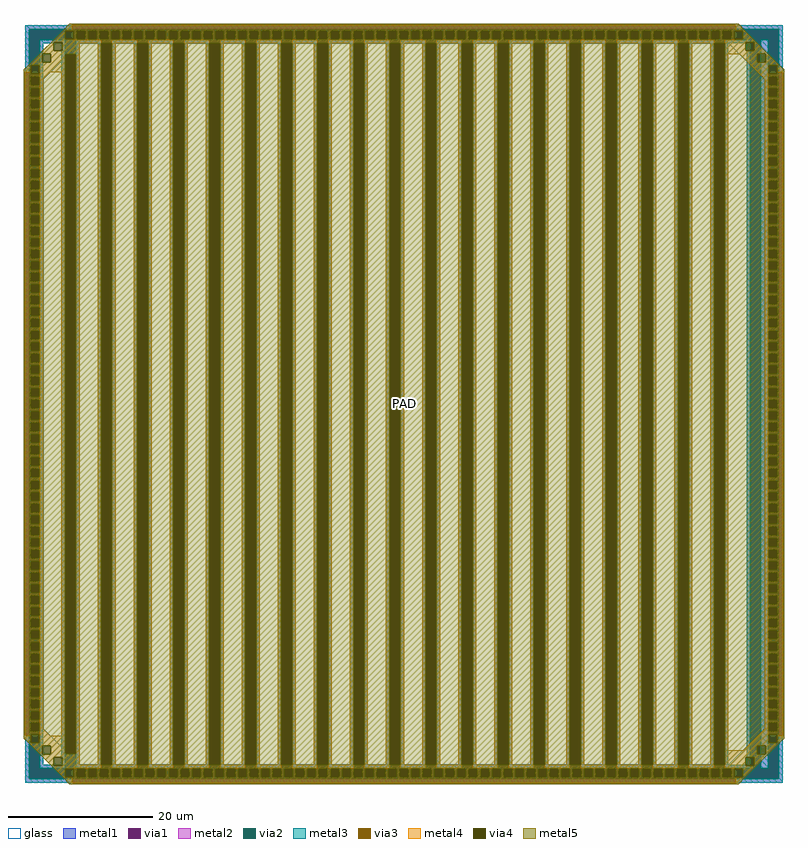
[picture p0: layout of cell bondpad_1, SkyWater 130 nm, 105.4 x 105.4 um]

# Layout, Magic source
magic
tech sky130A
<< metal1 >>
rect -250 10200 10250 10250
rect -250 -200 -200 10200
rect -50 10000 300 10050
rect -50 0 0 10000
rect 250 0 300 10000
rect -50 -50 300 0
rect 450 10000 800 10050
rect 450 0 500 10000
rect 750 0 800 10000
rect 450 -50 800 0
rect 950 10000 1300 10050
rect 950 0 1000 10000
rect 1250 0 1300 10000
rect 950 -50 1300 0
rect 1450 10000 1800 10050
rect 1450 0 1500 10000
rect 1750 0 1800 10000
rect 1450 -50 1800 0
rect 1950 10000 2300 10050
rect 1950 0 2000 10000
rect 2250 0 2300 10000
rect 1950 -50 2300 0
rect 2450 10000 2800 10050
rect 2450 0 2500 10000
rect 2750 0 2800 10000
rect 2450 -50 2800 0
rect 2950 10000 3300 10050
rect 2950 0 3000 10000
rect 3250 0 3300 10000
rect 2950 -50 3300 0
rect 3450 10000 3800 10050
rect 3450 0 3500 10000
rect 3750 0 3800 10000
rect 3450 -50 3800 0
rect 3950 10000 4300 10050
rect 3950 0 4000 10000
rect 4250 0 4300 10000
rect 3950 -50 4300 0
rect 4450 10000 4800 10050
rect 4450 0 4500 10000
rect 4750 0 4800 10000
rect 4450 -50 4800 0
rect 4950 10000 5300 10050
rect 4950 0 5000 10000
rect 5250 0 5300 10000
rect 4950 -50 5300 0
rect 5450 10000 5800 10050
rect 5450 0 5500 10000
rect 5750 0 5800 10000
rect 5450 -50 5800 0
rect 5950 10000 6300 10050
rect 5950 0 6000 10000
rect 6250 0 6300 10000
rect 5950 -50 6300 0
rect 6450 10000 6800 10050
rect 6450 0 6500 10000
rect 6750 0 6800 10000
rect 6450 -50 6800 0
rect 6950 10000 7300 10050
rect 6950 0 7000 10000
rect 7250 0 7300 10000
rect 6950 -50 7300 0
rect 7450 10000 7800 10050
rect 7450 0 7500 10000
rect 7750 0 7800 10000
rect 7450 -50 7800 0
rect 7950 10000 8300 10050
rect 7950 0 8000 10000
rect 8250 0 8300 10000
rect 7950 -50 8300 0
rect 8450 10000 8800 10050
rect 8450 0 8500 10000
rect 8750 0 8800 10000
rect 8450 -50 8800 0
rect 8950 10000 9300 10050
rect 8950 0 9000 10000
rect 9250 0 9300 10000
rect 8950 -50 9300 0
rect 9450 10000 9800 10050
rect 9450 0 9500 10000
rect 9750 0 9800 10000
rect 9450 -50 9800 0
rect 9950 -50 10050 10050
rect 10200 -200 10250 10200
rect -250 -250 10250 -200
<< via1 >>
rect -200 10050 10200 10200
rect -200 -50 -50 10050
rect 300 -50 450 10050
rect 800 -50 950 10050
rect 1300 -50 1450 10050
rect 1800 -50 1950 10050
rect 2300 -50 2450 10050
rect 2800 -50 2950 10050
rect 3300 -50 3450 10050
rect 3800 -50 3950 10050
rect 4300 -50 4450 10050
rect 4800 -50 4950 10050
rect 5300 -50 5450 10050
rect 5800 -50 5950 10050
rect 6300 -50 6450 10050
rect 6800 -50 6950 10050
rect 7300 -50 7450 10050
rect 7800 -50 7950 10050
rect 8300 -50 8450 10050
rect 8800 -50 8950 10050
rect 9300 -50 9450 10050
rect 9800 -50 9950 10050
rect 10050 -50 10200 10050
rect -200 -200 10200 -50
<< metal2 >>
rect -250 10200 10250 10250
rect -250 -200 -200 10200
rect -50 10000 300 10050
rect -50 0 0 10000
rect 250 0 300 10000
rect -50 -50 300 0
rect 450 10000 800 10050
rect 450 0 500 10000
rect 750 0 800 10000
rect 450 -50 800 0
rect 950 10000 1300 10050
rect 950 0 1000 10000
rect 1250 0 1300 10000
rect 950 -50 1300 0
rect 1450 10000 1800 10050
rect 1450 0 1500 10000
rect 1750 0 1800 10000
rect 1450 -50 1800 0
rect 1950 10000 2300 10050
rect 1950 0 2000 10000
rect 2250 0 2300 10000
rect 1950 -50 2300 0
rect 2450 10000 2800 10050
rect 2450 0 2500 10000
rect 2750 0 2800 10000
rect 2450 -50 2800 0
rect 2950 10000 3300 10050
rect 2950 0 3000 10000
rect 3250 0 3300 10000
rect 2950 -50 3300 0
rect 3450 10000 3800 10050
rect 3450 0 3500 10000
rect 3750 0 3800 10000
rect 3450 -50 3800 0
rect 3950 10000 4300 10050
rect 3950 0 4000 10000
rect 4250 0 4300 10000
rect 3950 -50 4300 0
rect 4450 10000 4800 10050
rect 4450 0 4500 10000
rect 4750 0 4800 10000
rect 4450 -50 4800 0
rect 4950 10000 5300 10050
rect 4950 0 5000 10000
rect 5250 0 5300 10000
rect 4950 -50 5300 0
rect 5450 10000 5800 10050
rect 5450 0 5500 10000
rect 5750 0 5800 10000
rect 5450 -50 5800 0
rect 5950 10000 6300 10050
rect 5950 0 6000 10000
rect 6250 0 6300 10000
rect 5950 -50 6300 0
rect 6450 10000 6800 10050
rect 6450 0 6500 10000
rect 6750 0 6800 10000
rect 6450 -50 6800 0
rect 6950 10000 7300 10050
rect 6950 0 7000 10000
rect 7250 0 7300 10000
rect 6950 -50 7300 0
rect 7450 10000 7800 10050
rect 7450 0 7500 10000
rect 7750 0 7800 10000
rect 7450 -50 7800 0
rect 7950 10000 8300 10050
rect 7950 0 8000 10000
rect 8250 0 8300 10000
rect 7950 -50 8300 0
rect 8450 10000 8800 10050
rect 8450 0 8500 10000
rect 8750 0 8800 10000
rect 8450 -50 8800 0
rect 8950 10000 9300 10050
rect 8950 0 9000 10000
rect 9250 0 9300 10000
rect 8950 -50 9300 0
rect 9450 10000 9800 10050
rect 9450 0 9500 10000
rect 9750 0 9800 10000
rect 9450 -50 9800 0
rect 9950 -50 10050 10050
rect 10200 -200 10250 10200
rect -250 -250 10250 -200
<< via2 >>
rect -200 10050 10200 10200
rect -200 -50 -50 10050
rect 300 -50 450 10050
rect 800 -50 950 10050
rect 1300 -50 1450 10050
rect 1800 -50 1950 10050
rect 2300 -50 2450 10050
rect 2800 -50 2950 10050
rect 3300 -50 3450 10050
rect 3800 -50 3950 10050
rect 4300 -50 4450 10050
rect 4800 -50 4950 10050
rect 5300 -50 5450 10050
rect 5800 -50 5950 10050
rect 6300 -50 6450 10050
rect 6800 -50 6950 10050
rect 7300 -50 7450 10050
rect 7800 -50 7950 10050
rect 8300 -50 8450 10050
rect 8800 -50 8950 10050
rect 9300 -50 9450 10050
rect 9800 -50 9950 10050
rect 10050 -50 10200 10050
rect -200 -200 10200 -50
<< metal3 >>
rect -250 10200 400 10250
rect 9600 10200 10250 10250
rect -250 9600 -200 10200
rect -50 10000 300 10050
rect -250 -200 -200 400
rect -50 0 0 10000
rect 250 0 300 10000
rect 450 10000 800 10050
rect -50 -50 300 0
rect 450 0 500 10000
rect 750 0 800 10000
rect 450 -50 800 0
rect 950 10000 1300 10050
rect 950 0 1000 10000
rect 1250 0 1300 10000
rect 950 -50 1300 0
rect 1450 10000 1800 10050
rect 1450 0 1500 10000
rect 1750 0 1800 10000
rect 1450 -50 1800 0
rect 1950 10000 2300 10050
rect 1950 0 2000 10000
rect 2250 0 2300 10000
rect 1950 -50 2300 0
rect 2450 10000 2800 10050
rect 2450 0 2500 10000
rect 2750 0 2800 10000
rect 2450 -50 2800 0
rect 2950 10000 3300 10050
rect 2950 0 3000 10000
rect 3250 0 3300 10000
rect 2950 -50 3300 0
rect 3450 10000 3800 10050
rect 3450 0 3500 10000
rect 3750 0 3800 10000
rect 3450 -50 3800 0
rect 3950 10000 4300 10050
rect 3950 0 4000 10000
rect 4250 0 4300 10000
rect 3950 -50 4300 0
rect 4450 10000 4800 10050
rect 4450 0 4500 10000
rect 4750 0 4800 10000
rect 4450 -50 4800 0
rect 4950 10000 5300 10050
rect 4950 0 5000 10000
rect 5250 0 5300 10000
rect 4950 -50 5300 0
rect 5450 10000 5800 10050
rect 5450 0 5500 10000
rect 5750 0 5800 10000
rect 5450 -50 5800 0
rect 5950 10000 6300 10050
rect 5950 0 6000 10000
rect 6250 0 6300 10000
rect 5950 -50 6300 0
rect 6450 10000 6800 10050
rect 6450 0 6500 10000
rect 6750 0 6800 10000
rect 6450 -50 6800 0
rect 6950 10000 7300 10050
rect 6950 0 7000 10000
rect 7250 0 7300 10000
rect 6950 -50 7300 0
rect 7450 10000 7800 10050
rect 7450 0 7500 10000
rect 7750 0 7800 10000
rect 7450 -50 7800 0
rect 7950 10000 8300 10050
rect 7950 0 8000 10000
rect 8250 0 8300 10000
rect 7950 -50 8300 0
rect 8450 10000 8800 10050
rect 8450 0 8500 10000
rect 8750 0 8800 10000
rect 8450 -50 8800 0
rect 8950 10000 9300 10050
rect 8950 0 9000 10000
rect 9250 0 9300 10000
rect 8950 -50 9300 0
rect 9450 10000 9800 10050
rect 9450 0 9500 10000
rect 9750 0 9800 10000
rect 9450 -50 9800 0
rect 9950 -50 10050 10050
rect 10200 9600 10250 10200
rect 10200 -200 10250 400
rect -250 -250 400 -200
rect 9600 -250 10250 -200
<< via3 >>
rect 400 10200 9600 10250
rect 400 10050 9600 10200
rect -250 400 -200 9600
rect -200 400 -50 9600
rect 300 150 450 9850
rect 800 -50 950 10050
rect 1300 -50 1450 10050
rect 1800 -50 1950 10050
rect 2300 -50 2450 10050
rect 2800 -50 2950 10050
rect 3300 -50 3450 10050
rect 3800 -50 3950 10050
rect 4300 -50 4450 10050
rect 4800 -50 4950 10050
rect 5300 -50 5450 10050
rect 5800 -50 5950 10050
rect 6300 -50 6450 10050
rect 6800 -50 6950 10050
rect 7300 -50 7450 10050
rect 7800 -50 7950 10050
rect 8300 -50 8450 10050
rect 8800 -50 8950 10050
rect 9300 -50 9450 10050
rect 10050 400 10200 9600
rect 10200 400 10250 9600
rect 400 -200 9600 -50
rect 400 -250 9600 -200
<< metal4 >>
tri 269 10179 360 10270 se
rect 360 10250 9640 10270
rect 360 10179 400 10250
rect 9600 10179 9640 10250
tri 9640 10179 9731 10270 sw
tri 135 10045 269 10179 se
rect 269 10061 301 10179
rect 9699 10061 9731 10179
rect 269 10050 400 10061
rect 9600 10050 9731 10061
rect 269 10045 800 10050
tri -51 9859 135 10045 se
rect 135 10019 800 10045
rect 135 9901 141 10019
rect 259 10000 800 10019
rect 950 10000 1300 10050
rect 1450 10000 1800 10050
rect 1950 10000 2300 10050
rect 2450 10000 2800 10050
rect 2950 10000 3300 10050
rect 3450 10000 3800 10050
rect 3950 10000 4300 10050
rect 4450 10000 4800 10050
rect 4950 10000 5300 10050
rect 5450 10000 5800 10050
rect 5950 10000 6300 10050
rect 6450 10000 6800 10050
rect 6950 10000 7300 10050
rect 7450 10000 7800 10050
rect 7950 10000 8300 10050
rect 8450 10000 8800 10050
rect 8950 10000 9300 10050
rect 9450 10045 9731 10050
tri 9731 10045 9865 10179 sw
rect 9450 10019 9865 10045
rect 259 9901 500 10000
rect 135 9859 500 9901
tri -211 9699 -51 9859 se
rect -51 9741 -19 9859
rect 99 9850 500 9859
rect 99 9741 300 9850
rect -51 9699 300 9741
tri -270 9640 -211 9699 se
rect -211 9640 -179 9699
rect -270 9600 -179 9640
rect -61 9600 300 9699
rect -270 400 -250 9600
rect -50 400 0 9600
tri 0 9505 95 9600 nw
tri 0 400 95 495 sw
rect 250 400 300 9600
rect -270 360 -179 400
tri -270 301 -211 360 ne
rect -211 301 -179 360
rect -61 301 300 400
tri -211 135 -45 301 ne
rect -45 259 300 301
rect -45 141 -19 259
rect 99 150 300 259
rect 450 150 500 9850
rect 99 141 500 150
rect -45 135 500 141
tri -45 -19 109 135 ne
rect 109 99 500 135
rect 109 -19 141 99
rect 259 0 500 99
rect 750 0 800 10000
rect 950 0 1000 10000
rect 1250 0 1300 10000
rect 1450 0 1500 10000
rect 1750 0 1800 10000
rect 1950 0 2000 10000
rect 2250 0 2300 10000
rect 2450 0 2500 10000
rect 2750 0 2800 10000
rect 2950 0 3000 10000
rect 3250 0 3300 10000
rect 3450 0 3500 10000
rect 3750 0 3800 10000
rect 3950 0 4000 10000
rect 4250 0 4300 10000
rect 4450 0 4500 10000
rect 4750 0 4800 10000
rect 4950 0 5000 10000
rect 5250 0 5300 10000
rect 5450 0 5500 10000
rect 5750 0 5800 10000
rect 5950 0 6000 10000
rect 6250 0 6300 10000
rect 6450 0 6500 10000
rect 6750 0 6800 10000
rect 6950 0 7000 10000
rect 7250 0 7300 10000
rect 7450 0 7500 10000
rect 7750 0 7800 10000
rect 7950 0 8000 10000
rect 8250 0 8300 10000
rect 8450 0 8500 10000
rect 8750 0 8800 10000
rect 8950 0 9000 10000
rect 9250 0 9300 10000
rect 9450 9901 9741 10019
rect 9859 9901 9865 10019
rect 9450 9859 9865 9901
tri 9865 9859 10051 10045 sw
rect 9450 9850 9901 9859
rect 9450 200 9500 9850
tri 9655 9640 9865 9850 ne
rect 9865 9741 9901 9850
rect 10019 9741 10051 9859
rect 9865 9699 10051 9741
tri 10051 9699 10211 9859 sw
rect 9865 9640 10061 9699
tri 9865 9505 10000 9640 ne
rect 10000 9600 10061 9640
rect 10179 9640 10211 9699
tri 10211 9640 10270 9699 sw
rect 10179 9600 10270 9640
tri 9865 360 10000 495 se
rect 10000 400 10050 9600
rect 10250 400 10270 9600
rect 10000 360 10061 400
tri 9705 200 9865 360 se
rect 9865 301 10061 360
rect 10179 360 10270 400
rect 10179 301 10211 360
tri 10211 301 10270 360 nw
rect 9865 259 10051 301
rect 9865 200 9901 259
rect 9450 141 9901 200
rect 10019 141 10051 259
tri 10051 141 10211 301 nw
rect 9450 99 9891 141
rect 259 -19 800 0
tri 109 -179 269 -19 ne
rect 269 -50 800 -19
rect 950 -50 1300 0
rect 1450 -50 1800 0
rect 1950 -50 2300 0
rect 2450 -50 2800 0
rect 2950 -50 3300 0
rect 3450 -50 3800 0
rect 3950 -50 4300 0
rect 4450 -50 4800 0
rect 4950 -50 5300 0
rect 5450 -50 5800 0
rect 5950 -50 6300 0
rect 6450 -50 6800 0
rect 6950 -50 7300 0
rect 7450 -50 7800 0
rect 7950 -50 8300 0
rect 8450 -50 8800 0
rect 8950 -50 9300 0
rect 9450 -19 9741 99
rect 9859 -19 9891 99
tri 9891 -19 10051 141 nw
rect 9450 -50 9731 -19
rect 269 -61 400 -50
rect 9600 -61 9731 -50
rect 269 -179 301 -61
rect 9699 -179 9731 -61
tri 9731 -179 9891 -19 nw
tri 269 -270 360 -179 ne
rect 360 -250 400 -179
rect 9600 -250 9640 -179
rect 360 -270 9640 -250
tri 9640 -270 9731 -179 nw
<< via4 >>
rect 301 10061 400 10179
rect 400 10061 419 10179
rect 461 10061 579 10179
rect 621 10061 739 10179
rect 781 10061 899 10179
rect 941 10061 1059 10179
rect 1101 10061 1219 10179
rect 1261 10061 1379 10179
rect 1421 10061 1539 10179
rect 1581 10061 1699 10179
rect 1741 10061 1859 10179
rect 1901 10061 2019 10179
rect 2061 10061 2179 10179
rect 2221 10061 2339 10179
rect 2381 10061 2499 10179
rect 2541 10061 2659 10179
rect 2701 10061 2819 10179
rect 2861 10061 2979 10179
rect 3021 10061 3139 10179
rect 3181 10061 3299 10179
rect 3341 10061 3459 10179
rect 3501 10061 3619 10179
rect 3661 10061 3779 10179
rect 3821 10061 3939 10179
rect 3981 10061 4099 10179
rect 4141 10061 4259 10179
rect 4301 10061 4419 10179
rect 4461 10061 4579 10179
rect 4621 10061 4739 10179
rect 4781 10061 4899 10179
rect 4941 10061 5059 10179
rect 5101 10061 5219 10179
rect 5261 10061 5379 10179
rect 5421 10061 5539 10179
rect 5581 10061 5699 10179
rect 5741 10061 5859 10179
rect 5901 10061 6019 10179
rect 6061 10061 6179 10179
rect 6221 10061 6339 10179
rect 6381 10061 6499 10179
rect 6541 10061 6659 10179
rect 6701 10061 6819 10179
rect 6861 10061 6979 10179
rect 7021 10061 7139 10179
rect 7181 10061 7299 10179
rect 7341 10061 7459 10179
rect 7501 10061 7619 10179
rect 7661 10061 7779 10179
rect 7821 10061 7939 10179
rect 7981 10061 8099 10179
rect 8141 10061 8259 10179
rect 8301 10061 8419 10179
rect 8461 10061 8579 10179
rect 8621 10061 8739 10179
rect 8781 10061 8899 10179
rect 8941 10061 9059 10179
rect 9101 10061 9219 10179
rect 9261 10061 9379 10179
rect 9421 10061 9539 10179
rect 9581 10061 9600 10179
rect 9600 10061 9699 10179
rect 141 9901 259 10019
rect -19 9741 99 9859
rect -179 9600 -61 9699
rect -179 9581 -61 9600
rect -179 9421 -61 9539
rect -179 9261 -61 9379
rect -179 9101 -61 9219
rect -179 8941 -61 9059
rect -179 8781 -61 8899
rect -179 8621 -61 8739
rect -179 8461 -61 8579
rect -179 8301 -61 8419
rect -179 8141 -61 8259
rect -179 7981 -61 8099
rect -179 7821 -61 7939
rect -179 7661 -61 7779
rect -179 7501 -61 7619
rect -179 7341 -61 7459
rect -179 7181 -61 7299
rect -179 7021 -61 7139
rect -179 6861 -61 6979
rect -179 6701 -61 6819
rect -179 6541 -61 6659
rect -179 6381 -61 6499
rect -179 6221 -61 6339
rect -179 6061 -61 6179
rect -179 5901 -61 6019
rect -179 5741 -61 5859
rect -179 5581 -61 5699
rect -179 5421 -61 5539
rect -179 5261 -61 5379
rect -179 5101 -61 5219
rect -179 4941 -61 5059
rect -179 4781 -61 4899
rect -179 4621 -61 4739
rect -179 4461 -61 4579
rect -179 4301 -61 4419
rect -179 4141 -61 4259
rect -179 3981 -61 4099
rect -179 3821 -61 3939
rect -179 3661 -61 3779
rect -179 3501 -61 3619
rect -179 3341 -61 3459
rect -179 3181 -61 3299
rect -179 3021 -61 3139
rect -179 2861 -61 2979
rect -179 2701 -61 2819
rect -179 2541 -61 2659
rect -179 2381 -61 2499
rect -179 2221 -61 2339
rect -179 2061 -61 2179
rect -179 1901 -61 2019
rect -179 1741 -61 1859
rect -179 1581 -61 1699
rect -179 1421 -61 1539
rect -179 1261 -61 1379
rect -179 1101 -61 1219
rect -179 941 -61 1059
rect -179 781 -61 899
rect -179 621 -61 739
rect -179 461 -61 579
rect -179 400 -61 419
rect -179 301 -61 400
rect -19 141 99 259
rect 300 150 450 9850
rect 141 -19 259 99
rect 800 0 950 10000
rect 1300 0 1450 10000
rect 1800 0 1950 10000
rect 2300 0 2450 10000
rect 2800 0 2950 10000
rect 3300 0 3450 10000
rect 3800 0 3950 10000
rect 4300 0 4450 10000
rect 4800 0 4950 10000
rect 5300 0 5450 10000
rect 5800 0 5950 10000
rect 6300 0 6450 10000
rect 6800 0 6950 10000
rect 7300 0 7450 10000
rect 7800 0 7950 10000
rect 8300 0 8450 10000
rect 8800 0 8950 10000
rect 9300 0 9450 10000
rect 9741 9901 9859 10019
rect 9901 9741 10019 9859
rect 10061 9600 10179 9699
rect 10061 9581 10179 9600
rect 10061 9421 10179 9539
rect 10061 9261 10179 9379
rect 10061 9101 10179 9219
rect 10061 8941 10179 9059
rect 10061 8781 10179 8899
rect 10061 8621 10179 8739
rect 10061 8461 10179 8579
rect 10061 8301 10179 8419
rect 10061 8141 10179 8259
rect 10061 7981 10179 8099
rect 10061 7821 10179 7939
rect 10061 7661 10179 7779
rect 10061 7501 10179 7619
rect 10061 7341 10179 7459
rect 10061 7181 10179 7299
rect 10061 7021 10179 7139
rect 10061 6861 10179 6979
rect 10061 6701 10179 6819
rect 10061 6541 10179 6659
rect 10061 6381 10179 6499
rect 10061 6221 10179 6339
rect 10061 6061 10179 6179
rect 10061 5901 10179 6019
rect 10061 5741 10179 5859
rect 10061 5581 10179 5699
rect 10061 5421 10179 5539
rect 10061 5261 10179 5379
rect 10061 5101 10179 5219
rect 10061 4941 10179 5059
rect 10061 4781 10179 4899
rect 10061 4621 10179 4739
rect 10061 4461 10179 4579
rect 10061 4301 10179 4419
rect 10061 4141 10179 4259
rect 10061 3981 10179 4099
rect 10061 3821 10179 3939
rect 10061 3661 10179 3779
rect 10061 3501 10179 3619
rect 10061 3341 10179 3459
rect 10061 3181 10179 3299
rect 10061 3021 10179 3139
rect 10061 2861 10179 2979
rect 10061 2701 10179 2819
rect 10061 2541 10179 2659
rect 10061 2381 10179 2499
rect 10061 2221 10179 2339
rect 10061 2061 10179 2179
rect 10061 1901 10179 2019
rect 10061 1741 10179 1859
rect 10061 1581 10179 1699
rect 10061 1421 10179 1539
rect 10061 1261 10179 1379
rect 10061 1101 10179 1219
rect 10061 941 10179 1059
rect 10061 781 10179 899
rect 10061 621 10179 739
rect 10061 461 10179 579
rect 10061 400 10179 419
rect 10061 301 10179 400
rect 9901 141 10019 259
rect 9741 -19 9859 99
rect 301 -179 400 -61
rect 400 -179 419 -61
rect 461 -179 579 -61
rect 621 -179 739 -61
rect 781 -179 899 -61
rect 941 -179 1059 -61
rect 1101 -179 1219 -61
rect 1261 -179 1379 -61
rect 1421 -179 1539 -61
rect 1581 -179 1699 -61
rect 1741 -179 1859 -61
rect 1901 -179 2019 -61
rect 2061 -179 2179 -61
rect 2221 -179 2339 -61
rect 2381 -179 2499 -61
rect 2541 -179 2659 -61
rect 2701 -179 2819 -61
rect 2861 -179 2979 -61
rect 3021 -179 3139 -61
rect 3181 -179 3299 -61
rect 3341 -179 3459 -61
rect 3501 -179 3619 -61
rect 3661 -179 3779 -61
rect 3821 -179 3939 -61
rect 3981 -179 4099 -61
rect 4141 -179 4259 -61
rect 4301 -179 4419 -61
rect 4461 -179 4579 -61
rect 4621 -179 4739 -61
rect 4781 -179 4899 -61
rect 4941 -179 5059 -61
rect 5101 -179 5219 -61
rect 5261 -179 5379 -61
rect 5421 -179 5539 -61
rect 5581 -179 5699 -61
rect 5741 -179 5859 -61
rect 5901 -179 6019 -61
rect 6061 -179 6179 -61
rect 6221 -179 6339 -61
rect 6381 -179 6499 -61
rect 6541 -179 6659 -61
rect 6701 -179 6819 -61
rect 6861 -179 6979 -61
rect 7021 -179 7139 -61
rect 7181 -179 7299 -61
rect 7341 -179 7459 -61
rect 7501 -179 7619 -61
rect 7661 -179 7779 -61
rect 7821 -179 7939 -61
rect 7981 -179 8099 -61
rect 8141 -179 8259 -61
rect 8301 -179 8419 -61
rect 8461 -179 8579 -61
rect 8621 -179 8739 -61
rect 8781 -179 8899 -61
rect 8941 -179 9059 -61
rect 9101 -179 9219 -61
rect 9261 -179 9379 -61
rect 9421 -179 9539 -61
rect 9581 -179 9600 -61
rect 9600 -179 9699 -61
<< metal5 >>
tri 269 10179 360 10270 se
rect 360 10179 9640 10270
tri 9640 10179 9731 10270 sw
tri 109 10019 269 10179 se
rect 269 10061 301 10179
rect 419 10061 461 10179
rect 579 10061 621 10179
rect 739 10061 781 10179
rect 899 10061 941 10179
rect 1059 10061 1101 10179
rect 1219 10061 1261 10179
rect 1379 10061 1421 10179
rect 1539 10061 1581 10179
rect 1699 10061 1741 10179
rect 1859 10061 1901 10179
rect 2019 10061 2061 10179
rect 2179 10061 2221 10179
rect 2339 10061 2381 10179
rect 2499 10061 2541 10179
rect 2659 10061 2701 10179
rect 2819 10061 2861 10179
rect 2979 10061 3021 10179
rect 3139 10061 3181 10179
rect 3299 10061 3341 10179
rect 3459 10061 3501 10179
rect 3619 10061 3661 10179
rect 3779 10061 3821 10179
rect 3939 10061 3981 10179
rect 4099 10061 4141 10179
rect 4259 10061 4301 10179
rect 4419 10061 4461 10179
rect 4579 10061 4621 10179
rect 4739 10061 4781 10179
rect 4899 10061 4941 10179
rect 5059 10061 5101 10179
rect 5219 10061 5261 10179
rect 5379 10061 5421 10179
rect 5539 10061 5581 10179
rect 5699 10061 5741 10179
rect 5859 10061 5901 10179
rect 6019 10061 6061 10179
rect 6179 10061 6221 10179
rect 6339 10061 6381 10179
rect 6499 10061 6541 10179
rect 6659 10061 6701 10179
rect 6819 10061 6861 10179
rect 6979 10061 7021 10179
rect 7139 10061 7181 10179
rect 7299 10061 7341 10179
rect 7459 10061 7501 10179
rect 7619 10061 7661 10179
rect 7779 10061 7821 10179
rect 7939 10061 7981 10179
rect 8099 10061 8141 10179
rect 8259 10061 8301 10179
rect 8419 10061 8461 10179
rect 8579 10061 8621 10179
rect 8739 10061 8781 10179
rect 8899 10061 8941 10179
rect 9059 10061 9101 10179
rect 9219 10061 9261 10179
rect 9379 10061 9421 10179
rect 9539 10061 9581 10179
rect 9699 10061 9731 10179
rect 269 10019 9731 10061
tri 9731 10019 9891 10179 sw
tri 0 9910 109 10019 se
rect 109 9910 141 10019
tri -51 9859 0 9910 se
rect 0 9901 141 9910
rect 259 10000 9741 10019
rect 259 9901 800 10000
rect 0 9859 800 9901
tri -211 9699 -51 9859 se
rect -51 9741 -19 9859
rect 99 9850 800 9859
rect 99 9741 300 9850
rect -51 9699 300 9741
tri -270 9640 -211 9699 se
rect -211 9640 -179 9699
rect -270 9581 -179 9640
rect -61 9581 300 9699
rect -270 9539 300 9581
rect -270 9421 -179 9539
rect -61 9421 300 9539
rect -270 9379 300 9421
rect -270 9261 -179 9379
rect -61 9261 300 9379
rect -270 9219 300 9261
rect -270 9101 -179 9219
rect -61 9101 300 9219
rect -270 9059 300 9101
rect -270 8941 -179 9059
rect -61 8941 300 9059
rect -270 8899 300 8941
rect -270 8781 -179 8899
rect -61 8781 300 8899
rect -270 8739 300 8781
rect -270 8621 -179 8739
rect -61 8621 300 8739
rect -270 8579 300 8621
rect -270 8461 -179 8579
rect -61 8461 300 8579
rect -270 8419 300 8461
rect -270 8301 -179 8419
rect -61 8301 300 8419
rect -270 8259 300 8301
rect -270 8141 -179 8259
rect -61 8141 300 8259
rect -270 8099 300 8141
rect -270 7981 -179 8099
rect -61 7981 300 8099
rect -270 7939 300 7981
rect -270 7821 -179 7939
rect -61 7821 300 7939
rect -270 7779 300 7821
rect -270 7661 -179 7779
rect -61 7661 300 7779
rect -270 7619 300 7661
rect -270 7501 -179 7619
rect -61 7501 300 7619
rect -270 7459 300 7501
rect -270 7341 -179 7459
rect -61 7341 300 7459
rect -270 7299 300 7341
rect -270 7181 -179 7299
rect -61 7181 300 7299
rect -270 7139 300 7181
rect -270 7021 -179 7139
rect -61 7021 300 7139
rect -270 6979 300 7021
rect -270 6861 -179 6979
rect -61 6861 300 6979
rect -270 6819 300 6861
rect -270 6701 -179 6819
rect -61 6701 300 6819
rect -270 6659 300 6701
rect -270 6541 -179 6659
rect -61 6541 300 6659
rect -270 6499 300 6541
rect -270 6381 -179 6499
rect -61 6381 300 6499
rect -270 6339 300 6381
rect -270 6221 -179 6339
rect -61 6221 300 6339
rect -270 6179 300 6221
rect -270 6061 -179 6179
rect -61 6061 300 6179
rect -270 6019 300 6061
rect -270 5901 -179 6019
rect -61 5901 300 6019
rect -270 5859 300 5901
rect -270 5741 -179 5859
rect -61 5741 300 5859
rect -270 5699 300 5741
rect -270 5581 -179 5699
rect -61 5581 300 5699
rect -270 5539 300 5581
rect -270 5421 -179 5539
rect -61 5421 300 5539
rect -270 5379 300 5421
rect -270 5261 -179 5379
rect -61 5261 300 5379
rect -270 5219 300 5261
rect -270 5101 -179 5219
rect -61 5101 300 5219
rect -270 5059 300 5101
rect -270 4941 -179 5059
rect -61 4941 300 5059
rect -270 4899 300 4941
rect -270 4781 -179 4899
rect -61 4781 300 4899
rect -270 4739 300 4781
rect -270 4621 -179 4739
rect -61 4621 300 4739
rect -270 4579 300 4621
rect -270 4461 -179 4579
rect -61 4461 300 4579
rect -270 4419 300 4461
rect -270 4301 -179 4419
rect -61 4301 300 4419
rect -270 4259 300 4301
rect -270 4141 -179 4259
rect -61 4141 300 4259
rect -270 4099 300 4141
rect -270 3981 -179 4099
rect -61 3981 300 4099
rect -270 3939 300 3981
rect -270 3821 -179 3939
rect -61 3821 300 3939
rect -270 3779 300 3821
rect -270 3661 -179 3779
rect -61 3661 300 3779
rect -270 3619 300 3661
rect -270 3501 -179 3619
rect -61 3501 300 3619
rect -270 3459 300 3501
rect -270 3341 -179 3459
rect -61 3341 300 3459
rect -270 3299 300 3341
rect -270 3181 -179 3299
rect -61 3181 300 3299
rect -270 3139 300 3181
rect -270 3021 -179 3139
rect -61 3021 300 3139
rect -270 2979 300 3021
rect -270 2861 -179 2979
rect -61 2861 300 2979
rect -270 2819 300 2861
rect -270 2701 -179 2819
rect -61 2701 300 2819
rect -270 2659 300 2701
rect -270 2541 -179 2659
rect -61 2541 300 2659
rect -270 2499 300 2541
rect -270 2381 -179 2499
rect -61 2381 300 2499
rect -270 2339 300 2381
rect -270 2221 -179 2339
rect -61 2221 300 2339
rect -270 2179 300 2221
rect -270 2061 -179 2179
rect -61 2061 300 2179
rect -270 2019 300 2061
rect -270 1901 -179 2019
rect -61 1901 300 2019
rect -270 1859 300 1901
rect -270 1741 -179 1859
rect -61 1741 300 1859
rect -270 1699 300 1741
rect -270 1581 -179 1699
rect -61 1581 300 1699
rect -270 1539 300 1581
rect -270 1421 -179 1539
rect -61 1421 300 1539
rect -270 1379 300 1421
rect -270 1261 -179 1379
rect -61 1261 300 1379
rect -270 1219 300 1261
rect -270 1101 -179 1219
rect -61 1101 300 1219
rect -270 1059 300 1101
rect -270 941 -179 1059
rect -61 941 300 1059
rect -270 899 300 941
rect -270 781 -179 899
rect -61 781 300 899
rect -270 739 300 781
rect -270 621 -179 739
rect -61 621 300 739
rect -270 579 300 621
rect -270 461 -179 579
rect -61 461 300 579
rect -270 419 300 461
rect -270 360 -179 419
tri -270 301 -211 360 ne
rect -211 301 -179 360
rect -61 301 300 419
tri -211 141 -51 301 ne
rect -51 259 300 301
rect -51 141 -19 259
rect 99 150 300 259
rect 450 150 800 9850
rect 99 141 800 150
tri -51 -19 109 141 ne
rect 109 99 800 141
rect 109 -19 141 99
rect 259 0 800 99
rect 950 0 1300 10000
rect 1450 0 1800 10000
rect 1950 0 2300 10000
rect 2450 0 2800 10000
rect 2950 0 3300 10000
rect 3450 0 3800 10000
rect 3950 0 4300 10000
rect 4450 0 4800 10000
rect 4950 0 5300 10000
rect 5450 0 5800 10000
rect 5950 0 6300 10000
rect 6450 0 6800 10000
rect 6950 0 7300 10000
rect 7450 0 7800 10000
rect 7950 0 8300 10000
rect 8450 0 8800 10000
rect 8950 0 9300 10000
rect 9450 9901 9741 10000
rect 9859 9901 9891 10019
rect 9450 9859 9891 9901
tri 9891 9859 10051 10019 sw
rect 9450 9741 9901 9859
rect 10019 9741 10051 9859
rect 9450 9699 10051 9741
tri 10051 9699 10211 9859 sw
rect 9450 9581 10061 9699
rect 10179 9640 10211 9699
tri 10211 9640 10270 9699 sw
rect 10179 9581 10270 9640
rect 9450 9539 10270 9581
rect 9450 9421 10061 9539
rect 10179 9421 10270 9539
rect 9450 9379 10270 9421
rect 9450 9261 10061 9379
rect 10179 9261 10270 9379
rect 9450 9219 10270 9261
rect 9450 9101 10061 9219
rect 10179 9101 10270 9219
rect 9450 9059 10270 9101
rect 9450 8941 10061 9059
rect 10179 8941 10270 9059
rect 9450 8899 10270 8941
rect 9450 8781 10061 8899
rect 10179 8781 10270 8899
rect 9450 8739 10270 8781
rect 9450 8621 10061 8739
rect 10179 8621 10270 8739
rect 9450 8579 10270 8621
rect 9450 8461 10061 8579
rect 10179 8461 10270 8579
rect 9450 8419 10270 8461
rect 9450 8301 10061 8419
rect 10179 8301 10270 8419
rect 9450 8259 10270 8301
rect 9450 8141 10061 8259
rect 10179 8141 10270 8259
rect 9450 8099 10270 8141
rect 9450 7981 10061 8099
rect 10179 7981 10270 8099
rect 9450 7939 10270 7981
rect 9450 7821 10061 7939
rect 10179 7821 10270 7939
rect 9450 7779 10270 7821
rect 9450 7661 10061 7779
rect 10179 7661 10270 7779
rect 9450 7619 10270 7661
rect 9450 7501 10061 7619
rect 10179 7501 10270 7619
rect 9450 7459 10270 7501
rect 9450 7341 10061 7459
rect 10179 7341 10270 7459
rect 9450 7299 10270 7341
rect 9450 7181 10061 7299
rect 10179 7181 10270 7299
rect 9450 7139 10270 7181
rect 9450 7021 10061 7139
rect 10179 7021 10270 7139
rect 9450 6979 10270 7021
rect 9450 6861 10061 6979
rect 10179 6861 10270 6979
rect 9450 6819 10270 6861
rect 9450 6701 10061 6819
rect 10179 6701 10270 6819
rect 9450 6659 10270 6701
rect 9450 6541 10061 6659
rect 10179 6541 10270 6659
rect 9450 6499 10270 6541
rect 9450 6381 10061 6499
rect 10179 6381 10270 6499
rect 9450 6339 10270 6381
rect 9450 6221 10061 6339
rect 10179 6221 10270 6339
rect 9450 6179 10270 6221
rect 9450 6061 10061 6179
rect 10179 6061 10270 6179
rect 9450 6019 10270 6061
rect 9450 5901 10061 6019
rect 10179 5901 10270 6019
rect 9450 5859 10270 5901
rect 9450 5741 10061 5859
rect 10179 5741 10270 5859
rect 9450 5699 10270 5741
rect 9450 5581 10061 5699
rect 10179 5581 10270 5699
rect 9450 5539 10270 5581
rect 9450 5421 10061 5539
rect 10179 5421 10270 5539
rect 9450 5379 10270 5421
rect 9450 5261 10061 5379
rect 10179 5261 10270 5379
rect 9450 5219 10270 5261
rect 9450 5101 10061 5219
rect 10179 5101 10270 5219
rect 9450 5059 10270 5101
rect 9450 4941 10061 5059
rect 10179 4941 10270 5059
rect 9450 4899 10270 4941
rect 9450 4781 10061 4899
rect 10179 4781 10270 4899
rect 9450 4739 10270 4781
rect 9450 4621 10061 4739
rect 10179 4621 10270 4739
rect 9450 4579 10270 4621
rect 9450 4461 10061 4579
rect 10179 4461 10270 4579
rect 9450 4419 10270 4461
rect 9450 4301 10061 4419
rect 10179 4301 10270 4419
rect 9450 4259 10270 4301
rect 9450 4141 10061 4259
rect 10179 4141 10270 4259
rect 9450 4099 10270 4141
rect 9450 3981 10061 4099
rect 10179 3981 10270 4099
rect 9450 3939 10270 3981
rect 9450 3821 10061 3939
rect 10179 3821 10270 3939
rect 9450 3779 10270 3821
rect 9450 3661 10061 3779
rect 10179 3661 10270 3779
rect 9450 3619 10270 3661
rect 9450 3501 10061 3619
rect 10179 3501 10270 3619
rect 9450 3459 10270 3501
rect 9450 3341 10061 3459
rect 10179 3341 10270 3459
rect 9450 3299 10270 3341
rect 9450 3181 10061 3299
rect 10179 3181 10270 3299
rect 9450 3139 10270 3181
rect 9450 3021 10061 3139
rect 10179 3021 10270 3139
rect 9450 2979 10270 3021
rect 9450 2861 10061 2979
rect 10179 2861 10270 2979
rect 9450 2819 10270 2861
rect 9450 2701 10061 2819
rect 10179 2701 10270 2819
rect 9450 2659 10270 2701
rect 9450 2541 10061 2659
rect 10179 2541 10270 2659
rect 9450 2499 10270 2541
rect 9450 2381 10061 2499
rect 10179 2381 10270 2499
rect 9450 2339 10270 2381
rect 9450 2221 10061 2339
rect 10179 2221 10270 2339
rect 9450 2179 10270 2221
rect 9450 2061 10061 2179
rect 10179 2061 10270 2179
rect 9450 2019 10270 2061
rect 9450 1901 10061 2019
rect 10179 1901 10270 2019
rect 9450 1859 10270 1901
rect 9450 1741 10061 1859
rect 10179 1741 10270 1859
rect 9450 1699 10270 1741
rect 9450 1581 10061 1699
rect 10179 1581 10270 1699
rect 9450 1539 10270 1581
rect 9450 1421 10061 1539
rect 10179 1421 10270 1539
rect 9450 1379 10270 1421
rect 9450 1261 10061 1379
rect 10179 1261 10270 1379
rect 9450 1219 10270 1261
rect 9450 1101 10061 1219
rect 10179 1101 10270 1219
rect 9450 1059 10270 1101
rect 9450 941 10061 1059
rect 10179 941 10270 1059
rect 9450 899 10270 941
rect 9450 781 10061 899
rect 10179 781 10270 899
rect 9450 739 10270 781
rect 9450 621 10061 739
rect 10179 621 10270 739
rect 9450 579 10270 621
rect 9450 461 10061 579
rect 10179 461 10270 579
rect 9450 419 10270 461
rect 9450 301 10061 419
rect 10179 360 10270 419
rect 10179 301 10211 360
tri 10211 301 10270 360 nw
rect 9450 259 10051 301
rect 9450 141 9901 259
rect 10019 141 10051 259
tri 10051 141 10211 301 nw
rect 9450 99 9891 141
rect 9450 0 9741 99
rect 259 -19 9741 0
rect 9859 -19 9891 99
tri 9891 -19 10051 141 nw
tri 109 -179 269 -19 ne
rect 269 -61 9731 -19
rect 269 -179 301 -61
rect 419 -179 461 -61
rect 579 -179 621 -61
rect 739 -179 781 -61
rect 899 -179 941 -61
rect 1059 -179 1101 -61
rect 1219 -179 1261 -61
rect 1379 -179 1421 -61
rect 1539 -179 1581 -61
rect 1699 -179 1741 -61
rect 1859 -179 1901 -61
rect 2019 -179 2061 -61
rect 2179 -179 2221 -61
rect 2339 -179 2381 -61
rect 2499 -179 2541 -61
rect 2659 -179 2701 -61
rect 2819 -179 2861 -61
rect 2979 -179 3021 -61
rect 3139 -179 3181 -61
rect 3299 -179 3341 -61
rect 3459 -179 3501 -61
rect 3619 -179 3661 -61
rect 3779 -179 3821 -61
rect 3939 -179 3981 -61
rect 4099 -179 4141 -61
rect 4259 -179 4301 -61
rect 4419 -179 4461 -61
rect 4579 -179 4621 -61
rect 4739 -179 4781 -61
rect 4899 -179 4941 -61
rect 5059 -179 5101 -61
rect 5219 -179 5261 -61
rect 5379 -179 5421 -61
rect 5539 -179 5581 -61
rect 5699 -179 5741 -61
rect 5859 -179 5901 -61
rect 6019 -179 6061 -61
rect 6179 -179 6221 -61
rect 6339 -179 6381 -61
rect 6499 -179 6541 -61
rect 6659 -179 6701 -61
rect 6819 -179 6861 -61
rect 6979 -179 7021 -61
rect 7139 -179 7181 -61
rect 7299 -179 7341 -61
rect 7459 -179 7501 -61
rect 7619 -179 7661 -61
rect 7779 -179 7821 -61
rect 7939 -179 7981 -61
rect 8099 -179 8141 -61
rect 8259 -179 8301 -61
rect 8419 -179 8461 -61
rect 8579 -179 8621 -61
rect 8739 -179 8781 -61
rect 8899 -179 8941 -61
rect 9059 -179 9101 -61
rect 9219 -179 9261 -61
rect 9379 -179 9421 -61
rect 9539 -179 9581 -61
rect 9699 -179 9731 -61
tri 9731 -179 9891 -19 nw
tri 269 -270 360 -179 ne
rect 360 -270 9640 -179
tri 9640 -270 9731 -179 nw
<< glass >>
tri 0 9505 495 10000 se
rect 495 9505 9505 10000
tri 9505 9505 10000 10000 sw
rect 0 495 10000 9505
tri 0 0 495 495 ne
rect 495 0 9505 495
tri 9505 0 10000 495 nw
<< labels >>
flabel metal5 s 5000 5000 5000 5000 0 FreeSans 10000 0 0 0 PAD
port 1 nsew
<< end >>
